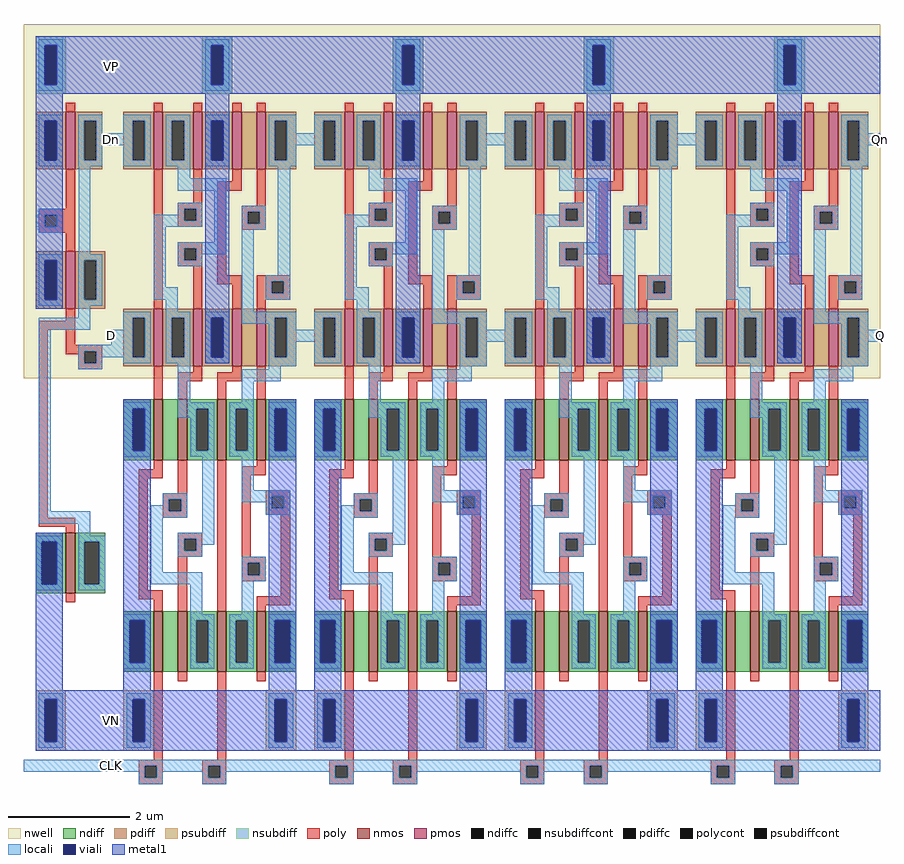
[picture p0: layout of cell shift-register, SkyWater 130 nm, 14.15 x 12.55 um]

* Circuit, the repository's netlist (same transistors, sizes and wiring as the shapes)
* SPICE3 file created from shift-register.ext - technology: sky130A

.subckt inverter-skinny VP D VN CLK Dn
X0 Dn D VN VN sky130_fd_pr__nfet_01v8 ad=5e+11p pd=3e+06u as=5e+11p ps=3e+06u w=1e+06u l=150000u
X1 Dn D VP VP sky130_fd_pr__pfet_01v8 ad=9.025e+11p pd=5.7e+06u as=9.5e+11p ps=5.8e+06u w=950000u l=150000u
X2 Dn D VP VP sky130_fd_pr__pfet_01v8 ad=0p pd=0u as=0p ps=0u w=950000u l=150000u
.ends

.subckt csrl VP Dn D VN CLK Q Qn
X0 VP a_80_850# a_80_1350# VP sky130_fd_pr__pfet_01v8 ad=9.5e+11p pd=5.8e+06u as=4.75e+11p ps=2.9e+06u w=950000u l=150000u
X1 Q CLK a_80_1350# VN sky130_fd_pr__nfet_01v8 ad=5e+11p pd=3e+06u as=5e+11p ps=3e+06u w=1e+06u l=150000u
X2 a_340_2000# CLK VP VP sky130_fd_pr__pfet_01v8 ad=2.375e+11p pd=2.4e+06u as=0p ps=0u w=950000u l=150000u
X3 a_340_1350# CLK VP VP sky130_fd_pr__pfet_01v8 ad=2.375e+11p pd=2.4e+06u as=0p ps=0u w=950000u l=150000u
X4 a_80_850# a_80_1350# a_80_340# VN sky130_fd_pr__nfet_01v8 ad=5e+11p pd=3e+06u as=2.5e+11p ps=2.5e+06u w=1e+06u l=150000u
X5 a_80_340# CLK VN VN sky130_fd_pr__nfet_01v8 ad=0p pd=0u as=2e+12p ps=1.2e+07u w=1e+06u l=150000u
X6 a_80_1040# CLK VN VN sky130_fd_pr__nfet_01v8 ad=2.5e+11p pd=2.5e+06u as=0p ps=0u w=1e+06u l=150000u
X7 Qn CLK a_80_850# VN sky130_fd_pr__nfet_01v8 ad=5e+11p pd=3e+06u as=0p ps=0u w=1e+06u l=150000u
X8 a_80_850# CLK Dn VP sky130_fd_pr__pfet_01v8 ad=4.75e+11p pd=2.9e+06u as=4.75e+11p ps=2.9e+06u w=950000u l=150000u
X9 a_80_1350# a_80_850# a_80_1040# VN sky130_fd_pr__nfet_01v8 ad=0p pd=0u as=0p ps=0u w=1e+06u l=150000u
X10 VN Qn Q VN sky130_fd_pr__nfet_01v8 ad=0p pd=0u as=0p ps=0u w=1e+06u l=150000u
X11 a_80_1350# CLK D VP sky130_fd_pr__pfet_01v8 ad=0p pd=0u as=4.75e+11p ps=2.9e+06u w=950000u l=150000u
X12 VN Q Qn VN sky130_fd_pr__nfet_01v8 ad=0p pd=0u as=0p ps=0u w=1e+06u l=150000u
X13 Qn Q a_340_2000# VP sky130_fd_pr__pfet_01v8 ad=4.75e+11p pd=2.9e+06u as=0p ps=0u w=950000u l=150000u
X14 VP a_80_1350# a_80_850# VP sky130_fd_pr__pfet_01v8 ad=0p pd=0u as=0p ps=0u w=950000u l=150000u
X15 Q Qn a_340_1350# VP sky130_fd_pr__pfet_01v8 ad=4.75e+11p pd=2.9e+06u as=0p ps=0u w=950000u l=150000u
.ends


* Top level circuit shift-register

Xinverter-skinny_0 csrl_3/VP csrl_0/D VSUBS csrl_3/CLK csrl_0/Dn inverter-skinny
Xcsrl_0 csrl_3/VP csrl_0/Dn csrl_0/D VSUBS csrl_3/CLK csrl_1/D csrl_1/Dn csrl
Xcsrl_1 csrl_3/VP csrl_1/Dn csrl_1/D VSUBS csrl_3/CLK csrl_2/D csrl_2/Dn csrl
Xcsrl_2 csrl_3/VP csrl_2/Dn csrl_2/D VSUBS csrl_3/CLK csrl_3/D csrl_3/Dn csrl
Xcsrl_3 csrl_3/VP csrl_3/Dn csrl_3/D VSUBS csrl_3/CLK csrl_3/Q csrl_3/Qn csrl
.end

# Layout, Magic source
magic
tech sky130A
use inverter-skinny  inverter-skinny_0
transform 1 0 45 0 1 15
box -190 5 -20 1240
use csrl  csrl_3
transform 1 0 990 0 1 15
box -45 -15 280 1240
use csrl  csrl_2
transform 1 0 675 0 1 15
box -45 -15 280 1240
use csrl  csrl_1
transform 1 0 360 0 1 15
box -45 -15 280 1240
use csrl  csrl_0
transform 1 0 45 0 1 15
box -45 -15 280 1240
<< labels >>
rlabel space 0 30 0 30 7 CLK
rlabel space 0 105 0 105 7 VN
rlabel space 0 740 0 740 7 D
rlabel space 0 1065 0 1065 7 Dn
rlabel space 0 1185 0 1185 7 VP
rlabel space 1270 1065 1270 1065 3 Qn
rlabel space 1270 740 1270 740 3 Q
<< end >>

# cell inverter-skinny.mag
magic
tech sky130A
<< nwell >>
rect -190 655 -20 1240
<< nmos >>
rect -120 300 -105 400
<< pmos >>
rect -120 1000 -105 1095
rect -120 770 -105 865
<< ndiff >>
rect -170 385 -120 400
rect -170 315 -160 385
rect -135 315 -120 385
rect -170 300 -120 315
rect -105 385 -55 400
rect -105 315 -90 385
rect -65 315 -55 385
rect -105 300 -55 315
<< pdiff >>
rect -170 1080 -120 1095
rect -170 1015 -155 1080
rect -135 1015 -120 1080
rect -170 1000 -120 1015
rect -105 1080 -60 1095
rect -105 1015 -90 1080
rect -70 1015 -60 1080
rect -105 1000 -60 1015
rect -170 850 -120 865
rect -170 785 -155 850
rect -135 785 -120 850
rect -170 770 -120 785
rect -105 850 -55 865
rect -105 785 -90 850
rect -70 785 -55 850
rect -105 770 -55 785
<< ndiffc >>
rect -160 315 -135 385
rect -90 315 -65 385
<< pdiffc >>
rect -155 1015 -135 1080
rect -90 1015 -70 1080
rect -155 785 -135 850
rect -90 785 -70 850
<< psubdiff >>
rect -170 125 -120 140
rect -170 55 -155 125
rect -135 55 -120 125
rect -170 40 -120 55
<< nsubdiff >>
rect -170 1205 -120 1220
rect -170 1140 -155 1205
rect -135 1140 -120 1205
rect -170 1125 -120 1140
<< psubdiffcont >>
rect -155 55 -135 125
<< nsubdiffcont >>
rect -155 1140 -135 1205
<< poly >>
rect -120 1095 -105 1110
rect -120 935 -105 1000
rect -165 925 -105 935
rect -165 905 -155 925
rect -135 905 -105 925
rect -165 895 -105 905
rect -120 865 -105 895
rect -120 750 -105 770
rect -165 735 -105 750
rect -165 425 -150 735
rect -120 710 -105 735
rect -120 700 -60 710
rect -120 695 -90 700
rect -100 680 -90 695
rect -70 680 -60 700
rect -100 670 -60 680
rect -165 410 -105 425
rect -120 400 -105 410
rect -120 285 -105 300
<< polycont >>
rect -155 905 -135 925
rect -90 680 -70 700
<< locali >>
rect -165 1205 -125 1215
rect -165 1140 -155 1205
rect -135 1140 -125 1205
rect -165 1130 -125 1140
rect -165 1080 -125 1090
rect -165 1015 -155 1080
rect -135 1015 -125 1080
rect -165 1005 -125 1015
rect -100 1080 -60 1090
rect -100 1015 -90 1080
rect -70 1060 -60 1080
rect -70 1040 -40 1060
rect -70 1015 -60 1040
rect -100 1005 -60 1015
rect -165 925 -125 935
rect -170 905 -155 925
rect -135 905 -125 925
rect -165 895 -125 905
rect -99 860 -80 1005
rect -165 850 -125 860
rect -165 785 -155 850
rect -135 785 -125 850
rect -165 775 -125 785
rect -100 850 -60 860
rect -100 785 -90 850
rect -70 785 -60 850
rect -100 775 -60 785
rect -100 755 -80 775
rect -165 735 -80 755
rect -165 435 -145 735
rect -45 710 -25 735
rect -100 700 -25 710
rect -100 680 -90 700
rect -70 690 -25 700
rect -70 680 -60 690
rect -100 670 -60 680
rect -165 415 -80 435
rect -100 395 -80 415
rect -170 385 -125 395
rect -170 315 -160 385
rect -135 315 -125 385
rect -170 305 -125 315
rect -100 385 -55 395
rect -100 315 -90 385
rect -65 315 -55 385
rect -100 305 -55 315
rect -165 125 -125 135
rect -165 55 -155 125
rect -135 55 -125 125
rect -165 45 -125 55
rect -190 5 -45 25
<< viali >>
rect -155 1140 -135 1205
rect -155 1015 -135 1080
rect -155 785 -135 850
rect -160 315 -135 385
rect -155 55 -135 125
<< metal1 >>
rect -170 1205 -45 1220
rect -170 1140 -155 1205
rect -135 1140 -45 1205
rect -170 1125 -45 1140
rect -170 1080 -125 1125
rect -170 1015 -155 1080
rect -135 1015 -125 1080
rect -170 850 -125 1015
rect -170 785 -155 850
rect -135 785 -125 850
rect -170 770 -125 785
rect -170 385 -125 400
rect -170 315 -160 385
rect -135 315 -125 385
rect -170 140 -125 315
rect -170 125 -45 140
rect -170 55 -155 125
rect -135 55 -45 125
rect -170 40 -45 55
<< labels >>
rlabel metal1 -170 1170 -170 1170 7 VP
port 1 w
rlabel locali -170 915 -170 915 7 D
port 2 w
rlabel metal1 -170 90 -170 90 7 VN
port 3 w
rlabel locali -190 15 -190 15 7 CLK
port 4 w
rlabel locali -25 720 -25 720 3 D
port 5 e
rlabel locali -40 1050 -40 1050 3 Dn
port 6 e
<< end >>

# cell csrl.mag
magic
tech sky130A
<< nwell >>
rect -45 655 280 1240
<< nmos >>
rect 25 520 40 620
rect 65 520 80 620
rect 130 520 145 620
rect 195 520 210 620
rect 25 170 40 270
rect 65 170 80 270
rect 130 170 145 270
rect 195 170 210 270
<< pmos >>
rect 25 1000 40 1095
rect 90 1000 105 1095
rect 155 1000 170 1095
rect 195 1000 210 1095
rect 25 675 40 770
rect 90 675 105 770
rect 155 675 170 770
rect 195 675 210 770
<< ndiff >>
rect -25 605 25 620
rect -25 535 -10 605
rect 10 535 25 605
rect -25 520 25 535
rect 40 520 65 620
rect 80 605 130 620
rect 80 535 95 605
rect 115 535 130 605
rect 80 520 130 535
rect 145 605 195 620
rect 145 535 160 605
rect 180 535 195 605
rect 145 520 195 535
rect 210 605 260 620
rect 210 535 225 605
rect 245 535 260 605
rect 210 520 260 535
rect -25 255 25 270
rect -25 185 -15 255
rect 10 185 25 255
rect -25 170 25 185
rect 40 170 65 270
rect 80 255 130 270
rect 80 185 95 255
rect 115 185 130 255
rect 80 170 130 185
rect 145 255 195 270
rect 145 185 160 255
rect 180 185 195 255
rect 145 170 195 185
rect 210 255 260 270
rect 210 185 225 255
rect 250 185 260 255
rect 210 170 260 185
<< pdiff >>
rect -25 1080 25 1095
rect -25 1015 -10 1080
rect 10 1015 25 1080
rect -25 1000 25 1015
rect 40 1080 90 1095
rect 40 1015 55 1080
rect 75 1015 90 1080
rect 40 1000 90 1015
rect 105 1080 155 1095
rect 105 1015 120 1080
rect 140 1015 155 1080
rect 105 1000 155 1015
rect 170 1000 195 1095
rect 210 1080 260 1095
rect 210 1015 225 1080
rect 245 1015 260 1080
rect 210 1000 260 1015
rect -25 755 25 770
rect -25 690 -10 755
rect 10 690 25 755
rect -25 675 25 690
rect 40 755 90 770
rect 40 690 55 755
rect 75 690 90 755
rect 40 675 90 690
rect 105 755 155 770
rect 105 690 120 755
rect 140 690 155 755
rect 105 675 155 690
rect 170 675 195 770
rect 210 755 260 770
rect 210 690 225 755
rect 245 690 260 755
rect 210 675 260 690
<< ndiffc >>
rect -10 535 10 605
rect 95 535 115 605
rect 160 535 180 605
rect 225 535 245 605
rect -15 185 10 255
rect 95 185 115 255
rect 160 185 180 255
rect 225 185 250 255
<< pdiffc >>
rect -10 1015 10 1080
rect 55 1015 75 1080
rect 120 1015 140 1080
rect 225 1015 245 1080
rect -10 690 10 755
rect 55 690 75 755
rect 120 690 140 755
rect 225 690 245 755
<< psubdiff >>
rect -25 125 25 140
rect -25 55 -10 125
rect 10 55 25 125
rect -25 40 25 55
rect 210 125 260 140
rect 210 55 225 125
rect 245 55 260 125
rect 210 40 260 55
<< nsubdiff >>
rect 105 1205 155 1220
rect 105 1140 120 1205
rect 140 1140 155 1205
rect 105 1125 155 1140
<< psubdiffcont >>
rect -10 55 10 125
rect 225 55 245 125
<< nsubdiffcont >>
rect 120 1140 140 1205
<< poly >>
rect 25 1095 40 1110
rect 90 1095 105 1110
rect 155 1095 170 1110
rect 195 1095 210 1110
rect 25 770 40 1000
rect 90 945 105 1000
rect 155 980 170 1000
rect 65 935 105 945
rect 65 915 75 935
rect 95 915 105 935
rect 65 905 105 915
rect 130 965 170 980
rect 65 870 105 880
rect 65 850 75 870
rect 95 850 105 870
rect 65 840 105 850
rect 90 770 105 840
rect 130 825 145 965
rect 195 940 210 1000
rect 170 930 210 940
rect 170 910 180 930
rect 200 910 210 930
rect 170 900 210 910
rect 130 810 170 825
rect 155 770 170 810
rect 195 815 250 825
rect 195 795 220 815
rect 240 795 250 815
rect 195 785 250 795
rect 195 770 210 785
rect 25 620 40 675
rect 90 665 105 675
rect 155 665 170 675
rect 65 650 105 665
rect 130 650 170 665
rect 65 620 80 650
rect 130 620 145 650
rect 195 620 210 675
rect 25 505 40 520
rect 0 490 40 505
rect 0 305 15 490
rect 65 465 80 520
rect 40 455 80 465
rect 40 435 50 455
rect 70 435 80 455
rect 40 425 80 435
rect 65 390 105 400
rect 65 370 75 390
rect 95 370 105 390
rect 65 360 105 370
rect 0 290 40 305
rect 25 270 40 290
rect 65 270 80 360
rect 130 270 145 520
rect 195 510 210 520
rect 170 495 210 510
rect 170 360 185 495
rect 210 460 250 470
rect 210 440 220 460
rect 240 440 250 460
rect 210 430 250 440
rect 170 350 210 360
rect 170 330 180 350
rect 200 330 210 350
rect 170 320 210 330
rect 235 295 250 430
rect 195 280 250 295
rect 195 270 210 280
rect 25 25 40 170
rect 65 155 80 170
rect 130 25 145 170
rect 195 155 210 170
rect 0 15 40 25
rect 0 -5 10 15
rect 30 -5 40 15
rect 0 -15 40 -5
rect 105 15 145 25
rect 105 -5 115 15
rect 135 -5 145 15
rect 105 -15 145 -5
<< polycont >>
rect 75 915 95 935
rect 75 850 95 870
rect 180 910 200 930
rect 220 795 240 815
rect 50 435 70 455
rect 75 370 95 390
rect 220 440 240 460
rect 180 330 200 350
rect 10 -5 30 15
rect 115 -5 135 15
<< locali >>
rect 110 1205 150 1215
rect 110 1140 120 1205
rect 140 1140 150 1205
rect 110 1130 150 1140
rect -25 1080 20 1090
rect -25 1060 -10 1080
rect -45 1040 -10 1060
rect -25 1015 -10 1040
rect 10 1015 20 1080
rect -25 1005 20 1015
rect 45 1080 85 1090
rect 45 1015 55 1080
rect 75 1015 85 1080
rect 45 1005 85 1015
rect 110 1080 150 1090
rect 110 1015 120 1080
rect 140 1015 150 1080
rect 110 1005 150 1015
rect 215 1080 260 1090
rect 215 1015 225 1080
rect 245 1060 260 1080
rect 245 1040 280 1060
rect 245 1015 260 1040
rect 215 1005 260 1015
rect 65 985 85 1005
rect 65 965 145 985
rect 65 935 105 945
rect 65 925 75 935
rect 25 915 75 925
rect 95 915 105 935
rect 25 905 105 915
rect 25 805 45 905
rect 125 880 145 965
rect 65 870 145 880
rect 65 850 75 870
rect 95 860 145 870
rect 170 930 210 940
rect 170 910 180 930
rect 200 910 210 930
rect 170 900 210 910
rect 95 850 105 860
rect 65 840 105 850
rect 25 785 65 805
rect 45 765 65 785
rect 170 765 190 900
rect 230 825 250 1005
rect 210 815 250 825
rect 210 795 220 815
rect 240 795 250 815
rect 210 785 250 795
rect -25 755 20 765
rect -25 735 -10 755
rect -45 715 -10 735
rect -25 690 -10 715
rect 10 690 20 755
rect -25 680 20 690
rect 45 755 85 765
rect 45 690 55 755
rect 75 690 85 755
rect 45 680 85 690
rect 110 755 150 765
rect 110 690 120 755
rect 140 690 150 755
rect 170 755 260 765
rect 170 745 225 755
rect 110 680 150 690
rect 215 690 225 745
rect 245 735 260 755
rect 245 715 280 735
rect 245 690 260 715
rect 65 615 85 680
rect 215 675 260 690
rect 215 670 235 675
rect 170 650 235 670
rect 170 615 190 650
rect -25 605 20 615
rect -25 535 -10 605
rect 10 535 20 605
rect 65 605 125 615
rect 65 590 95 605
rect -25 525 20 535
rect 85 535 95 590
rect 115 535 125 605
rect 85 525 125 535
rect 150 605 190 615
rect 150 535 160 605
rect 180 535 190 605
rect 150 525 190 535
rect 215 605 260 615
rect 215 535 225 605
rect 245 535 260 605
rect 215 525 260 535
rect 40 455 80 465
rect 40 445 50 455
rect 20 435 50 445
rect 70 435 80 455
rect 20 425 80 435
rect 20 335 40 425
rect 105 400 125 525
rect 170 470 190 525
rect 170 460 250 470
rect 170 450 220 460
rect 210 440 220 450
rect 240 440 250 460
rect 210 430 250 440
rect 65 390 125 400
rect 65 370 75 390
rect 95 380 125 390
rect 95 370 105 380
rect 65 360 105 370
rect 170 350 210 360
rect 20 315 105 335
rect 85 265 105 315
rect 170 330 180 350
rect 200 330 210 350
rect 170 320 210 330
rect 170 265 190 320
rect -25 255 20 265
rect -25 185 -15 255
rect 10 185 20 255
rect -25 175 20 185
rect 85 255 125 265
rect 85 185 95 255
rect 115 185 125 255
rect 85 175 125 185
rect 150 255 190 265
rect 150 185 160 255
rect 180 185 190 255
rect 150 175 190 185
rect 215 255 260 265
rect 215 185 225 255
rect 250 185 260 255
rect 215 175 260 185
rect -20 125 20 135
rect -20 55 -10 125
rect 10 55 20 125
rect -20 45 20 55
rect 215 125 255 135
rect 215 55 225 125
rect 245 55 255 125
rect 215 45 255 55
rect -45 15 280 25
rect -45 5 10 15
rect 0 -5 10 5
rect 30 5 115 15
rect 30 -5 40 5
rect 0 -15 40 -5
rect 105 -5 115 5
rect 135 5 280 15
rect 135 -5 145 5
rect 105 -15 145 -5
<< viali >>
rect 120 1140 140 1205
rect 120 1015 140 1080
rect 120 690 140 755
rect -10 535 10 605
rect 225 535 245 605
rect -15 185 10 255
rect 225 185 250 255
rect -10 55 10 125
rect 225 55 245 125
<< metal1 >>
rect -45 1205 280 1220
rect -45 1140 120 1205
rect 140 1140 280 1205
rect -45 1125 280 1140
rect 110 1080 150 1125
rect 110 1015 120 1080
rect 140 1015 150 1080
rect 110 755 150 1015
rect 110 690 120 755
rect 140 690 150 755
rect 110 680 150 690
rect -25 605 20 620
rect -25 535 -10 605
rect 10 535 20 605
rect -25 255 20 535
rect -25 185 -15 255
rect 10 185 20 255
rect -25 140 20 185
rect 215 605 260 620
rect 215 535 225 605
rect 245 535 260 605
rect 215 255 260 535
rect 215 185 225 255
rect 250 185 260 255
rect 215 140 260 185
rect -45 125 280 140
rect -45 55 -10 125
rect 10 55 225 125
rect 245 55 280 125
rect -45 40 280 55
<< labels >>
rlabel metal1 -45 1170 -45 1170 7 VP
port 1 w
rlabel locali -45 1050 -45 1050 7 Dn
port 2 w
rlabel locali -45 725 -45 725 7 D
port 3 w
rlabel metal1 -45 90 -45 90 7 VN
port 4 w
rlabel locali -45 15 -45 15 7 CLK
port 5 w
rlabel locali 280 725 280 725 3 Q
port 6 e
rlabel locali 280 1050 280 1050 3 Qn
port 7 e
<< end >>
